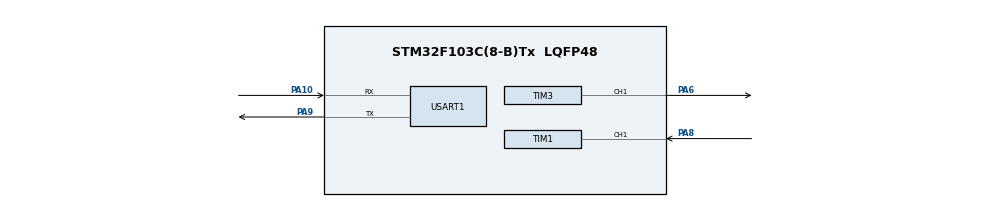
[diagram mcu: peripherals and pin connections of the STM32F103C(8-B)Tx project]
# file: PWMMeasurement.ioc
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Mcu.Family=STM32F1
Mcu.Name=STM32F103C(8-B)Tx
Mcu.Package=LQFP48
NVIC.PriorityGroup=NVIC_PRIORITYGROUP_4
PA10.Mode=Asynchronous
PA10.Signal=USART1_RX
PA13.Mode=Serial_Wire
PA13.Signal=SYS_JTMS-SWDIO
PA14.Mode=Serial_Wire
PA14.Signal=SYS_JTCK-SWCLK
PA6.Signal=S_TIM3_CH1
PA8.Signal=S_TIM1_CH1
PA9.Mode=Asynchronous
PA9.Signal=USART1_TX
ProjectManager.HeapSize=0x200
ProjectManager.StackSize=0x400
ProjectManager.TargetToolchain=MDK-ARM V5.32
RCC.APB1Freq_Value=8000000
RCC.APB2Freq_Value=8000000
SH.S_TIM1_CH1.0=TIM1_CH1,Input_Capture1_from_TI1
SH.S_TIM1_CH1.1=TIM1_CH1,TriggerSource_TI1FP1
SH.S_TIM3_CH1.0=TIM3_CH1,PWM Generation1 CH1
TIM1.AutoReloadPreload=TIM_AUTORELOAD_PRELOAD_ENABLE
TIM1.Channel-Input_Capture1_from_TI1=TIM_CHANNEL_1
TIM1.Channel-Input_Capture2_from_TI1_63=TIM_CHANNEL_2
TIM1.ICPolarity_CH2=TIM_INPUTCHANNELPOLARITY_FALLING
TIM1.Prescaler=7
TIM3.AutoReloadPreload=TIM_AUTORELOAD_PRELOAD_ENABLE
TIM3.Channel-PWM\ Generation1\ CH1=TIM_CHANNEL_1
TIM3.Period=999
TIM3.Prescaler=7
TIM3.Pulse-PWM\ Generation1\ CH1=200
USART1.VirtualMode=VM_ASYNC
VP_TIM1_VS_ClockSourceINT.Mode=Internal
VP_TIM1_VS_ControllerModeReset.Mode=Reset Mode
VP_TIM1_VS_indirect_ch1.Mode=Input_Capture2_from_TI1_63
VP_TIM3_VS_ClockSourceINT.Mode=Internal
board=custom

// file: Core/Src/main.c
/* USER CODE BEGIN Header */
/**
  ******************************************************************************
  * @file           : main.c
  * @brief          : Main program body
  ******************************************************************************
  * @attention
  *
  * Copyright (c) 2025 STMicroelectronics.
  * All rights reserved.
  *
  * This software is licensed under terms that can be found in the LICENSE file
  * in the root directory of this software component.
  * If no LICENSE file comes with this software, it is provided AS-IS.
  *
  ******************************************************************************
  */
/* USER CODE END Header */
#include "main.h"
#include "tim.h"
#include "usart.h"
#include "gpio.h"

void SystemClock_Config(void);

/* USER CODE BEGIN 0 */
#include <stdarg.h>
#include <stdio.h>
#include <string.h>

static void UART_Printf(const char *format, ...)
{
	char tmp[128];

	va_list argptr;
	va_start(argptr,format);
	vsprintf((char*)tmp,format,argptr);
	va_end(argptr);

	HAL_UART_Transmit(&huart1,(const uint8_t *)&tmp,strlen(tmp),HAL_MAX_DELAY);
}
/* USER CODE END 0 */

int main(void)
{

  /* MCU Configuration--------------------------------------------------------*/

  /* Reset of all peripherals, Initializes the Flash interface and the Systick. */
  HAL_Init();

  /* Configure the system clock */
  SystemClock_Config();

  /* Initialize all configured peripherals */
  MX_GPIO_Init();
  MX_USART1_UART_Init();
  MX_TIM3_Init();
  MX_TIM1_Init();
  /* USER CODE BEGIN 2 */
	//HAL_UART_Transmit(&huart1,(const uint8_t*)"你好世界",12,HAL_MAX_DELAY);
	HAL_TIM_PWM_Start(&htim3,TIM_CHANNEL_1);
  /* USER CODE END 2 */

  /* Infinite loop */
  /* USER CODE BEGIN WHILE */
  while (1)
  {
		//1.清除cc1标志位
		__HAL_TIM_CLEAR_FLAG(&htim1,TIM_FLAG_CC1);

		//2.启动定时器
		HAL_TIM_IC_Start(&htim1,TIM_CHANNEL_1);
		HAL_TIM_IC_Start(&htim1,TIM_CHANNEL_2);

		//3.等待cc1标志位并再次清除
		while(__HAL_TIM_GET_FLAG(&htim1,TIM_FLAG_CC1)==0);
		__HAL_TIM_CLEAR_FLAG(&htim1,TIM_FLAG_CC1);

		//4.再次等待cc1标志位
		while(__HAL_TIM_GET_FLAG(&htim1,TIM_FLAG_CC1)==0);

		//5.关闭定时器
		HAL_TIM_IC_Stop(&htim1,TIM_CHANNEL_1);
		HAL_TIM_IC_Stop(&htim1,TIM_CHANNEL_2);

		//6.计算测量结果
		uint16_t ccr1=__HAL_TIM_GET_COMPARE(&htim1,TIM_CHANNEL_1);
		uint16_t ccr2=__HAL_TIM_GET_COMPARE(&htim1,TIM_CHANNEL_2);

		float period=ccr1*1e-6;
		float pulseWidth=ccr2*1e-6;
		float duty=pulseWidth/period;

		UART_Printf("脉宽=%.1fus，周期=%.1fus，占空比=%.1f%%",pulseWidth*1e6f,period*1e6f,duty*100.0f);
		HAL_Delay(500);
/* USER CODE END WHILE */

  }
}

void SystemClock_Config(void)
{
  RCC_OscInitTypeDef RCC_OscInitStruct = {0};
  RCC_ClkInitTypeDef RCC_ClkInitStruct = {0};

  /** Initializes the RCC Oscillators according to the specified parameters
  * in the RCC_OscInitTypeDef structure.
  */
  RCC_OscInitStruct.OscillatorType = RCC_OSCILLATORTYPE_HSI;
  RCC_OscInitStruct.HSIState = RCC_HSI_ON;
  RCC_OscInitStruct.HSICalibrationValue = RCC_HSICALIBRATION_DEFAULT;
  RCC_OscInitStruct.PLL.PLLState = RCC_PLL_NONE;
  if (HAL_RCC_OscConfig(&RCC_OscInitStruct) != HAL_OK)
  {
    Error_Handler();
  }

  /** Initializes the CPU, AHB and APB buses clocks
  */
  RCC_ClkInitStruct.ClockType = RCC_CLOCKTYPE_HCLK|RCC_CLOCKTYPE_SYSCLK
                              |RCC_CLOCKTYPE_PCLK1|RCC_CLOCKTYPE_PCLK2;
  RCC_ClkInitStruct.SYSCLKSource = RCC_SYSCLKSOURCE_HSI;
  RCC_ClkInitStruct.AHBCLKDivider = RCC_SYSCLK_DIV1;
  RCC_ClkInitStruct.APB1CLKDivider = RCC_HCLK_DIV1;
  RCC_ClkInitStruct.APB2CLKDivider = RCC_HCLK_DIV1;

  if (HAL_RCC_ClockConfig(&RCC_ClkInitStruct, FLASH_LATENCY_0) != HAL_OK)
  {
    Error_Handler();
  }
}

void Error_Handler(void)
{
  __disable_irq();
  while (1)
  {
  }
}
